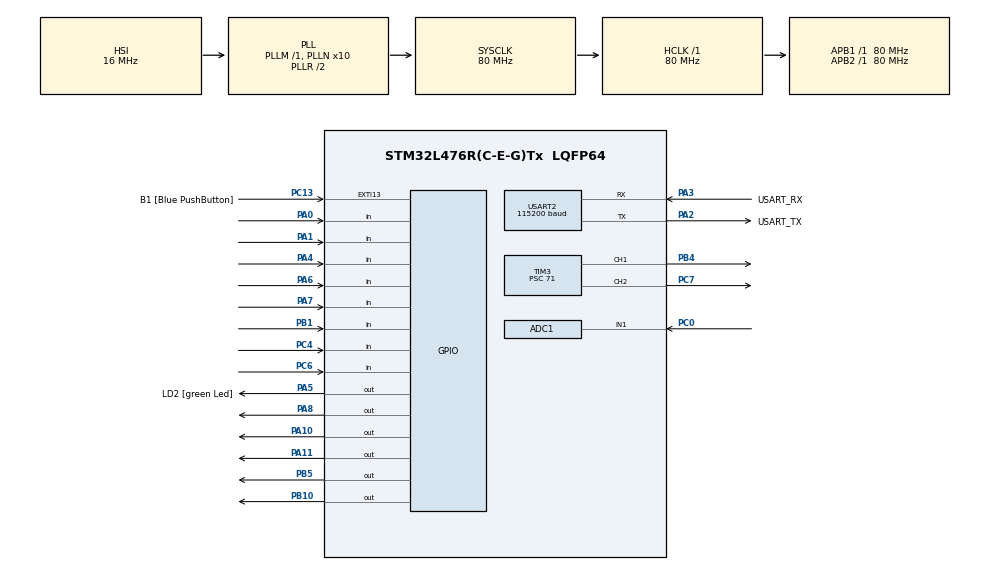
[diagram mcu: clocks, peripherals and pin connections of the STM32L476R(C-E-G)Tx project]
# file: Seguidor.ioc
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ADC1.Channel-1\#ChannelRegularConversion=ADC_CHANNEL_1
ADC1.NbrOfConversionFlag=1
ADC1.OffsetNumber-1\#ChannelRegularConversion=ADC_OFFSET_NONE
ADC1.Rank-1\#ChannelRegularConversion=1
ADC1.SamplingTime-1\#ChannelRegularConversion=ADC_SAMPLETIME_2CYCLES_5
ADC1.master=1
FREERTOS.Tasks01=defaultTask,0,128,StartDefaultTask,Default,NULL,Dynamic,NULL,NULL
FREERTOS.configTOTAL_HEAP_SIZE=16384
FREERTOS.configUSE_NEWLIB_REENTRANT=1
Mcu.Family=STM32L4
Mcu.Name=STM32L476R(C-E-G)Tx
Mcu.Package=LQFP64
NVIC.PriorityGroup=NVIC_PRIORITYGROUP_4
NVIC.TIM1_UP_TIM16_IRQn=true\:15\:0\:false\:false\:true\:false\:false\:true\:true
NVIC.TimeBase=TIM1_UP_TIM16_IRQn
NVIC.TimeBaseIP=TIM1
PA0.GPIO_PuPd=GPIO_PULLUP
PA0.Signal=GPIO_Input
PA1.GPIO_PuPd=GPIO_PULLUP
PA1.Signal=GPIO_Input
PA10.Signal=GPIO_Output
PA11.Signal=GPIO_Output
PA13\ (JTMS-SWDIO).GPIO_Label=TMS
PA13\ (JTMS-SWDIO).Mode=Serial_Wire
PA13\ (JTMS-SWDIO).Signal=SYS_JTMS-SWDIO
PA14\ (JTCK-SWCLK).GPIO_Label=TCK
PA14\ (JTCK-SWCLK).Mode=Serial_Wire
PA14\ (JTCK-SWCLK).Signal=SYS_JTCK-SWCLK
PA2.GPIO_Label=USART_TX
PA2.GPIO_Mode=GPIO_MODE_AF_PP
PA2.GPIO_PuPd=GPIO_NOPULL
PA2.GPIO_Speed=GPIO_SPEED_FREQ_VERY_HIGH
PA2.Mode=Asynchronous
PA2.Signal=USART2_TX
PA3.GPIO_Label=USART_RX
PA3.GPIO_Mode=GPIO_MODE_AF_PP
PA3.GPIO_PuPd=GPIO_NOPULL
PA3.GPIO_Speed=GPIO_SPEED_FREQ_VERY_HIGH
PA3.Mode=Asynchronous
PA3.Signal=USART2_RX
PA4.GPIO_PuPd=GPIO_PULLUP
PA4.Signal=GPIO_Input
PA5.GPIO_Label=LD2 [green Led]
PA5.GPIO_ModeDefaultOutputPP=GPIO_MODE_OUTPUT_PP
PA5.GPIO_PuPd=GPIO_NOPULL
PA5.GPIO_Speed=GPIO_SPEED_FREQ_LOW
PA5.Signal=GPIO_Output
PA6.GPIO_PuPd=GPIO_PULLUP
PA6.Signal=GPIO_Input
PA7.GPIO_PuPd=GPIO_PULLUP
PA7.Signal=GPIO_Input
PA8.Signal=GPIO_Output
PB1.GPIO_PuPd=GPIO_PULLUP
PB1.Signal=GPIO_Input
PB10.Signal=GPIO_Output
PB3\ (JTDO-TRACESWO).GPIO_Label=SWO
PB3\ (JTDO-TRACESWO).Signal=SYS_JTDO-SWO
PB4\ (NJTRST).Signal=S_TIM3_CH1
PB5.Signal=GPIO_Output
PC0.Signal=ADCx_IN1
PC13.GPIO_Label=B1 [Blue PushButton]
PC13.GPIO_ModeDefaultEXTI=GPIO_MODE_IT_FALLING
PC13.GPIO_PuPd=GPIO_NOPULL
PC13.Signal=GPXTI13
PC14-OSC32_IN\ (PC14).Mode=LSE-External-Oscillator
PC14-OSC32_IN\ (PC14).Signal=RCC_OSC32_IN
PC15-OSC32_OUT\ (PC15).Mode=LSE-External-Oscillator
PC15-OSC32_OUT\ (PC15).Signal=RCC_OSC32_OUT
PC4.GPIO_PuPd=GPIO_PULLUP
PC4.Signal=GPIO_Input
PC6.GPIO_PuPd=GPIO_PULLUP
PC6.Signal=GPIO_Input
PC7.Signal=S_TIM3_CH2
PH0-OSC_IN\ (PH0).Signal=RCC_OSC_IN
PH1-OSC_OUT\ (PH1).Signal=RCC_OSC_OUT
ProjectManager.HeapSize=0x200
ProjectManager.StackSize=0x400
ProjectManager.TargetToolchain=STM32CubeIDE
RCC.ADCFreq_Value=64000000
RCC.AHBFreq_Value=80000000
RCC.APB1Freq_Value=80000000
RCC.APB1TimFreq_Value=80000000
RCC.APB2Freq_Value=80000000
RCC.APB2TimFreq_Value=80000000
RCC.CortexFreq_Value=80000000
RCC.HCLKFreq_Value=80000000
RCC.HSE_VALUE=8000000
RCC.HSI_VALUE=16000000
RCC.MSI_VALUE=4000000
RCC.PLLN=10
RCC.PLLSourceVirtual=RCC_PLLSOURCE_HSI
RCC.PREFETCH_ENABLE=1
RCC.SYSCLKFreq_VALUE=80000000
RCC.SYSCLKSource=RCC_SYSCLKSOURCE_PLLCLK
RCC.USBFreq_Value=64000000
RCC.VCOOutputFreq_Value=160000000
SH.ADCx_IN1.0=ADC1_IN1,IN1-Single-Ended
SH.S_TIM3_CH1.0=TIM3_CH1,PWM Generation1 CH1
SH.S_TIM3_CH2.0=TIM3_CH2,PWM Generation2 CH2
TIM3.Channel-PWM\ Generation1\ CH1=TIM_CHANNEL_1
TIM3.Channel-PWM\ Generation2\ CH2=TIM_CHANNEL_2
TIM3.Period=99
TIM3.Prescaler=71
USART2.BaudRate=115200
USART2.VirtualMode-Asynchronous=VM_ASYNC
VP_FREERTOS_VS_CMSIS_V1.Mode=CMSIS_V1
VP_SYS_VS_tim1.Mode=TIM1
board=NUCLEO-L476RG

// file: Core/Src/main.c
/* USER CODE BEGIN Header */
/**
  ***********************************************************************
  *																		*
  * CARRO RC E SEGUIDOR DE LINHA										*
  * Projeto de Sistemas Embarcados @ Cesar School						*
  *																		*
  * "Every machine is a smoke machine if you operate it wrong enough"	*
  *																		*
  * Alunos: @frssm, @dca2, @hrm, @jhml, @rba, @rdmo, @yri						*
  *																		*
  ***********************************************************************
  */
/* USER CODE END Header */
#include "main.h"
#include "cmsis_os.h"
#include "stdio.h"
#include "string.h"

/* USER CODE BEGIN Includes */
EventGroupHandle_t modo_event_group;

#define MODO_RC     (1 << 0)
#define MODO_AUTO   (1 << 1)
/* USER CODE END Includes */

/* USER CODE BEGIN PD */
#define NUM_SENSORS 8  // Número de sensores

#define MOTOR_L_IN1 GPIO_PIN_10  // Ajuste conforme sua conexão PB10
#define MOTOR_L_IN2 GPIO_PIN_5   // PB5
#define MOTOR_L_PWM GPIO_PIN_4  // PWM para o motor esquerdo PB4

#define MOTOR_R_IN1 GPIO_PIN_10 //PA10
#define MOTOR_R_IN2 GPIO_PIN_8  //PA8
#define MOTOR_R_PWM GPIO_PIN_7  // PWM para o motor direito PC7

#define MOTOR_L_PORT GPIOB  // Ajuste a porta correta
#define MOTOR_R_PORT GPIOA  // Ajuste a porta correta

#define PWM_MAX 100  // Definir velocidade máxima (0-100%)

/* USER CODE END PD */

ADC_HandleTypeDef hadc1;
TIM_HandleTypeDef htim3;
UART_HandleTypeDef huart2;
uint8_t sensor_values[NUM_SENSORS];

osThreadId defaultTaskHandle;

void SystemClock_Config(void);
static void MX_TIM3_Init(void);
static void MX_GPIO_Init(void);
static void MX_USART2_UART_Init(void);
static void MX_ADC1_Init(void);
void StartDefaultTask(void const * argument);

/* USER CODE BEGIN PFP */
// Mapeamento dos pinos no STM32
GPIO_TypeDef *SENSOR_PORT[NUM_SENSORS] = {GPIOA, GPIOA, GPIOA, GPIOA, GPIOA, GPIOC, GPIOC, GPIOB}; //PA0 PA1 PA4 PA6 PA7 PC4 PC5 PB1
uint16_t SENSOR_PIN[NUM_SENSORS] = {GPIO_PIN_0, GPIO_PIN_1, GPIO_PIN_4, GPIO_PIN_6, GPIO_PIN_7,
									GPIO_PIN_4, GPIO_PIN_6, GPIO_PIN_1};

uint8_t sensor_values[8];  // Armazena os valores lidos
int sensor_positions[8] = {-3, -2, -1, 0, 0, 1, 2, 3};  // Posições relativas dos sensores
float centroid=0.0;
//threads que eu criei
void testcent();
void testsens();
void sensores();
void motores(void *argument);
void controle_carro(void *argument);

//variáveis globais para cálculo de PID
float Kp = 25.0;//Comece com Ki = 0. Mexa só no Kp e Kd primeiro.
float Ki = 0.0; //Aumente Kp até o robô reagir bem.
float Kd = 15.0;//Aumente Kd se ele estiver oscilando demais.
				//Só adicione Ki se ele estiver desviando com o tempo.
float error = 0;
float previous_error = 0;
float integral = 0;
float target_position = 0.0;  // Alvo do centroide (pode ajustar conforme seu mapeamento)

void read_sensors();
void print_sensor_values();
float calculate_centroid();
int velocidade();

float compute_pid(float position);
void set_motor_speeds(float correction);
void motor_set_speed(int left_speed, int right_speed);
void motor_init();
int16_t readVoltage(void);
void blinkTaskFcn(int);
/* USER CODE END PFP */

int main(void)
{

  /* MCU Configuration--------------------------------------------------------*/

  /* Reset of all peripherals, Initializes the Flash interface and the Systick. */
  HAL_Init();

  /* Configure the system clock */
  SystemClock_Config();

  /* Initialize all configured peripherals */
  MX_GPIO_Init();
  MX_USART2_UART_Init();
  MX_TIM3_Init();
  MX_ADC1_Init();
  motor_init();
  modo_event_group = xEventGroupCreate();
  xEventGroupSetBits(modo_event_group, MODO_RC); // começa no modo RC

  /* Create the thread(s) */
  /* definition and creation of defaultTask */
  osThreadDef(defaultTask, StartDefaultTask, osPriorityNormal, 0, 128);
  defaultTaskHandle = osThreadCreate(osThread(defaultTask), NULL);

  /* USER CODE BEGIN RTOS_THREADS */
  /* add threads, ... */
  //xTaskCreate(testsens, "testando sensores", configMINIMAL_STACK_SIZE, NULL, tskIDLE_PRIORITY, NULL);
  //xTaskCreate(testcent, "testando centroide", configMINIMAL_STACK_SIZE, NULL, tskIDLE_PRIORITY, NULL);
  //xTaskCreate(blinkTaskFcn, "Task1", configMINIMAL_STACK_SIZE, NULL, 1, NULL);
  //xTaskCreate(sensores, "sensors", configMINIMAL_STACK_SIZE, NULL, tskIDLE_PRIORITY, NULL);
  xTaskCreate(motores, "startEngines", configMINIMAL_STACK_SIZE, NULL, tskIDLE_PRIORITY, NULL);
  xTaskCreate(controle_carro, "modoRC", configMINIMAL_STACK_SIZE, NULL, tskIDLE_PRIORITY, NULL);
  /* USER CODE END RTOS_THREADS */

  /* Start scheduler */
  osKernelStart();

  /* We should never get here as control is now taken by the scheduler */

  /* Infinite loop */
  while (1)
  {

  }
}

void SystemClock_Config(void)
{
  RCC_OscInitTypeDef RCC_OscInitStruct = {0};
  RCC_ClkInitTypeDef RCC_ClkInitStruct = {0};

  /** Configure the main internal regulator output voltage
  */
  if (HAL_PWREx_ControlVoltageScaling(PWR_REGULATOR_VOLTAGE_SCALE1) != HAL_OK)
  {
    Error_Handler();
  }

  /** Initializes the RCC Oscillators according to the specified parameters
  * in the RCC_OscInitTypeDef structure.
  */
  RCC_OscInitStruct.OscillatorType = RCC_OSCILLATORTYPE_HSI;
  RCC_OscInitStruct.HSIState = RCC_HSI_ON;
  RCC_OscInitStruct.HSICalibrationValue = RCC_HSICALIBRATION_DEFAULT;
  RCC_OscInitStruct.PLL.PLLState = RCC_PLL_ON;
  RCC_OscInitStruct.PLL.PLLSource = RCC_PLLSOURCE_HSI;
  RCC_OscInitStruct.PLL.PLLM = 1;
  RCC_OscInitStruct.PLL.PLLN = 10;
  RCC_OscInitStruct.PLL.PLLP = RCC_PLLP_DIV7;
  RCC_OscInitStruct.PLL.PLLQ = RCC_PLLQ_DIV2;
  RCC_OscInitStruct.PLL.PLLR = RCC_PLLR_DIV2;
  if (HAL_RCC_OscConfig(&RCC_OscInitStruct) != HAL_OK)
  {
    Error_Handler();
  }

  /** Initializes the CPU, AHB and APB buses clocks
  */
  RCC_ClkInitStruct.ClockType = RCC_CLOCKTYPE_HCLK|RCC_CLOCKTYPE_SYSCLK
                              |RCC_CLOCKTYPE_PCLK1|RCC_CLOCKTYPE_PCLK2;
  RCC_ClkInitStruct.SYSCLKSource = RCC_SYSCLKSOURCE_PLLCLK;
  RCC_ClkInitStruct.AHBCLKDivider = RCC_SYSCLK_DIV1;
  RCC_ClkInitStruct.APB1CLKDivider = RCC_HCLK_DIV1;
  RCC_ClkInitStruct.APB2CLKDivider = RCC_HCLK_DIV1;

  if (HAL_RCC_ClockConfig(&RCC_ClkInitStruct, FLASH_LATENCY_4) != HAL_OK)
  {
    Error_Handler();
  }
}

static void MX_ADC1_Init(void)
{

  ADC_MultiModeTypeDef multimode = {0};
  ADC_ChannelConfTypeDef sConfig = {0};

  /** Common config
  */
  hadc1.Instance = ADC1;
  hadc1.Init.ClockPrescaler = ADC_CLOCK_ASYNC_DIV1;
  hadc1.Init.Resolution = ADC_RESOLUTION_12B;
  hadc1.Init.DataAlign = ADC_DATAALIGN_RIGHT;
  hadc1.Init.ScanConvMode = ADC_SCAN_DISABLE;
  hadc1.Init.EOCSelection = ADC_EOC_SINGLE_CONV;
  hadc1.Init.LowPowerAutoWait = DISABLE;
  hadc1.Init.ContinuousConvMode = DISABLE;
  hadc1.Init.NbrOfConversion = 1;
  hadc1.Init.DiscontinuousConvMode = DISABLE;
  hadc1.Init.ExternalTrigConv = ADC_SOFTWARE_START;
  hadc1.Init.ExternalTrigConvEdge = ADC_EXTERNALTRIGCONVEDGE_NONE;
  hadc1.Init.DMAContinuousRequests = DISABLE;
  hadc1.Init.Overrun = ADC_OVR_DATA_PRESERVED;
  hadc1.Init.OversamplingMode = DISABLE;
  if (HAL_ADC_Init(&hadc1) != HAL_OK)
  {
    Error_Handler();
  }

  /** Configure the ADC multi-mode
  */
  multimode.Mode = ADC_MODE_INDEPENDENT;
  if (HAL_ADCEx_MultiModeConfigChannel(&hadc1, &multimode) != HAL_OK)
  {
    Error_Handler();
  }

  /** Configure Regular Channel
  */
  sConfig.Channel = ADC_CHANNEL_1;
  sConfig.Rank = ADC_REGULAR_RANK_1;
  sConfig.SamplingTime = ADC_SAMPLETIME_2CYCLES_5;
  sConfig.SingleDiff = ADC_SINGLE_ENDED;
  sConfig.OffsetNumber = ADC_OFFSET_NONE;
  sConfig.Offset = 0;
  if (HAL_ADC_ConfigChannel(&hadc1, &sConfig) != HAL_OK)
  {
    Error_Handler();
  }

}

static void MX_TIM3_Init(void)
{

  TIM_MasterConfigTypeDef sMasterConfig = {0};
  TIM_OC_InitTypeDef sConfigOC = {0};

  htim3.Instance = TIM3;
  htim3.Init.Prescaler = 71;
  htim3.Init.CounterMode = TIM_COUNTERMODE_UP;
  htim3.Init.Period = 99;
  htim3.Init.ClockDivision = TIM_CLOCKDIVISION_DIV1;
  htim3.Init.AutoReloadPreload = TIM_AUTORELOAD_PRELOAD_DISABLE;
  if (HAL_TIM_PWM_Init(&htim3) != HAL_OK)
  {
    Error_Handler();
  }
  sMasterConfig.MasterOutputTrigger = TIM_TRGO_RESET;
  sMasterConfig.MasterSlaveMode = TIM_MASTERSLAVEMODE_DISABLE;
  if (HAL_TIMEx_MasterConfigSynchronization(&htim3, &sMasterConfig) != HAL_OK)
  {
    Error_Handler();
  }
  sConfigOC.OCMode = TIM_OCMODE_PWM1;
  sConfigOC.Pulse = 0;
  sConfigOC.OCPolarity = TIM_OCPOLARITY_HIGH;
  sConfigOC.OCFastMode = TIM_OCFAST_DISABLE;
  if (HAL_TIM_PWM_ConfigChannel(&htim3, &sConfigOC, TIM_CHANNEL_1) != HAL_OK)
  {
    Error_Handler();
  }
  if (HAL_TIM_PWM_ConfigChannel(&htim3, &sConfigOC, TIM_CHANNEL_2) != HAL_OK)
  {
    Error_Handler();
  }
  HAL_TIM_MspPostInit(&htim3);

}

static void MX_USART2_UART_Init(void)
{

  huart2.Instance = USART2;
  huart2.Init.BaudRate = 115200;
  huart2.Init.WordLength = UART_WORDLENGTH_8B;
  huart2.Init.StopBits = UART_STOPBITS_1;
  huart2.Init.Parity = UART_PARITY_NONE;
  huart2.Init.Mode = UART_MODE_TX_RX;
  huart2.Init.HwFlowCtl = UART_HWCONTROL_NONE;
  huart2.Init.OverSampling = UART_OVERSAMPLING_16;
  huart2.Init.OneBitSampling = UART_ONE_BIT_SAMPLE_DISABLE;
  huart2.AdvancedInit.AdvFeatureInit = UART_ADVFEATURE_NO_INIT;
  if (HAL_UART_Init(&huart2) != HAL_OK)
  {
    Error_Handler();
  }

}

static void MX_GPIO_Init(void)
{
  GPIO_InitTypeDef GPIO_InitStruct = {0};

  /* GPIO Ports Clock Enable */
  __HAL_RCC_GPIOC_CLK_ENABLE();
  __HAL_RCC_GPIOH_CLK_ENABLE();
  __HAL_RCC_GPIOA_CLK_ENABLE();
  __HAL_RCC_GPIOB_CLK_ENABLE();

  /*Configure GPIO pin Output Level */
  HAL_GPIO_WritePin(GPIOA, LD2_Pin|GPIO_PIN_8|GPIO_PIN_10, GPIO_PIN_RESET);

  /*Configure GPIO pin Output Level */
  HAL_GPIO_WritePin(GPIOB, GPIO_PIN_10|GPIO_PIN_5, GPIO_PIN_RESET);

  /*Configure GPIO pin : B1_Pin */
  GPIO_InitStruct.Pin = B1_Pin;
  GPIO_InitStruct.Mode = GPIO_MODE_IT_FALLING;
  GPIO_InitStruct.Pull = GPIO_NOPULL;
  HAL_GPIO_Init(B1_GPIO_Port, &GPIO_InitStruct);

  /*Configure GPIO pins : LD2_Pin PA8 PA10 */
  GPIO_InitStruct.Pin = LD2_Pin|GPIO_PIN_8|GPIO_PIN_10;
  GPIO_InitStruct.Mode = GPIO_MODE_OUTPUT_PP;
  GPIO_InitStruct.Pull = GPIO_NOPULL;
  GPIO_InitStruct.Speed = GPIO_SPEED_FREQ_LOW;
  HAL_GPIO_Init(GPIOA, &GPIO_InitStruct);
 //LD2_GPIO_Port

  /*Configure GPIO pins : PA0 PA1 PA4 PA6 PA7 */
  GPIO_InitStruct.Pin = GPIO_PIN_0|GPIO_PIN_1|GPIO_PIN_4|GPIO_PIN_6|GPIO_PIN_7;
  GPIO_InitStruct.Mode = GPIO_MODE_INPUT;
  GPIO_InitStruct.Pull = GPIO_PULLUP;
  HAL_GPIO_Init(GPIOA, &GPIO_InitStruct);

  /*Configure GPIO pins : PC4 PC6 */
  GPIO_InitStruct.Pin = GPIO_PIN_4|GPIO_PIN_6;
  GPIO_InitStruct.Mode = GPIO_MODE_INPUT;
  GPIO_InitStruct.Pull = GPIO_PULLUP;
  HAL_GPIO_Init(GPIOC, &GPIO_InitStruct);

  /*Configure GPIO pin : PB1 */
  GPIO_InitStruct.Pin = GPIO_PIN_1;
  GPIO_InitStruct.Mode = GPIO_MODE_INPUT;
  GPIO_InitStruct.Pull = GPIO_PULLUP;
  HAL_GPIO_Init(GPIOB, &GPIO_InitStruct);

  /*Configure GPIO pins : PB10 PB5 */
  GPIO_InitStruct.Pin = GPIO_PIN_10|GPIO_PIN_5;
  GPIO_InitStruct.Mode = GPIO_MODE_OUTPUT_PP;
  GPIO_InitStruct.Pull = GPIO_NOPULL;
  GPIO_InitStruct.Speed = GPIO_SPEED_FREQ_LOW;
  HAL_GPIO_Init(GPIOB, &GPIO_InitStruct);

  //motores
  // Configura pinos de direção como saída
  GPIO_InitStruct.Pin = MOTOR_L_IN1 | MOTOR_L_IN2;
  GPIO_InitStruct.Mode = GPIO_MODE_OUTPUT_PP;
  GPIO_InitStruct.Pull = GPIO_NOPULL;
  GPIO_InitStruct.Speed = GPIO_SPEED_FREQ_LOW;
  HAL_GPIO_Init(MOTOR_L_PORT, &GPIO_InitStruct);

  // Configura pinos de direção como saída
  GPIO_InitStruct.Pin = MOTOR_R_IN1 | MOTOR_R_IN2;
  GPIO_InitStruct.Mode = GPIO_MODE_OUTPUT_PP;
  GPIO_InitStruct.Pull = GPIO_NOPULL;
  GPIO_InitStruct.Speed = GPIO_SPEED_FREQ_LOW;
  HAL_GPIO_Init(MOTOR_R_PORT, &GPIO_InitStruct);

  // Configura pinos PWM como saída (opcional: configurar como PWM via Timer)
  GPIO_InitStruct.Pin = MOTOR_L_PWM;
  GPIO_InitStruct.Mode = GPIO_MODE_AF_PP;  // Se usar Timer PWM
  GPIO_InitStruct.Pull = GPIO_NOPULL;
  GPIO_InitStruct.Speed = GPIO_SPEED_FREQ_HIGH;
  GPIO_InitStruct.Alternate = GPIO_AF2_TIM3;  // <-- IMPORTANTE! Esse pino vai funcionar como canal de PWM do Timer 3
  HAL_GPIO_Init(MOTOR_L_PORT, &GPIO_InitStruct);

  GPIO_InitStruct.Pin = MOTOR_R_PWM;
  GPIO_InitStruct.Mode = GPIO_MODE_AF_PP;  // Se usar Timer PWM
  GPIO_InitStruct.Pull = GPIO_NOPULL;
  GPIO_InitStruct.Speed = GPIO_SPEED_FREQ_HIGH;
  GPIO_InitStruct.Alternate = GPIO_AF2_TIM3;  // <-- IMPORTANTE! Esse pino vai funcionar como canal de PWM do Timer 3
  HAL_GPIO_Init(GPIOC, &GPIO_InitStruct);

}

/* USER CODE BEGIN 4 */

/*
 * MODO CONTROLE REMOTO
 */
void controle_carro(void *argument) {
	uint8_t ultimo_valor_pot = 255;
	char msgs[50];
    for (;;) {
        EventBits_t modo = xEventGroupGetBits(modo_event_group);
        if (modo & MODO_RC) {
            // Aqui você processa comandos recebidos via UART2
            // Exemplo simples: se receber 'A', gira à esquerda
            char comando;
            int16_t potenciometro;
			HAL_ADC_Start(&hadc1);
			HAL_ADC_PollForConversion(&hadc1, HAL_MAX_DELAY);
			potenciometro = (uint8_t)(HAL_ADC_GetValue(&hadc1) * 100 / 3970);//normalizando o valor
			int var;
			var = potenciometro/5;
			var*=5;
			// Se o valor do potenciômetro mudou, imprime
			if ((var-5) < potenciometro && potenciometro < (var+5) && var != ultimo_valor_pot) {
				sprintf(msgs,"Velocidade: %d\n\r",var);
				HAL_UART_Transmit(&huart2, (char*)msgs, strlen(msgs), 100);
				ultimo_valor_pot = var;
			}
            if (HAL_UART_Receive(&huart2, (uint8_t *)&comando, 1, 100) == HAL_OK) {
                switch (comando) {
                    case 'w'://frente
                    case 'W'://forward
                    	motor_set_speed(potenciometro, potenciometro); break;
                    case 's'://ré
                    case 'S'://backward
                    	motor_set_speed(-potenciometro, -potenciometro); break;
                    case 'a'://esquerda
                    case 'A'://lefs
                    	motor_set_speed(potenciometro, -potenciometro); break;
                    case 'd'://direita
                    case 'D'://right
                    	motor_set_speed(-potenciometro, potenciometro); break;
                    case 'q'://para
					case 'Q'://stop
						motor_set_speed(0, 0); break;
					case 'e'://led (easter egg)
					case 'E'://LED (easter egg)
						HAL_GPIO_TogglePin(LD2_GPIO_Port, LD2_Pin);break;
                    case 'f':  // comando para mudar para modo Follow
                    case 'F': //line follower
                        xEventGroupClearBits(modo_event_group, MODO_RC);
                        xEventGroupSetBits(modo_event_group, MODO_AUTO);
                        break;
                }
            }
        }
        vTaskDelay(pdMS_TO_TICKS(50));
    }
}
/**
  * SENSORES
  */
void sensores(){
	while(1){
		read_sensors();
		print_sensor_values();
		//pos = calculate_centroid();
		//corr = compute_pid(pos);
		HAL_Delay(100);
	}
}

void read_sensors() {
    for (int i = 0; i < NUM_SENSORS; i++) {
        sensor_values[i] = HAL_GPIO_ReadPin(SENSOR_PORT[i], SENSOR_PIN[i]);
    }
}

void print_sensor_values() {
    char msg[50];
    sprintf(msg, "Sensores: %d %d %d %d %d %d %d %d\r\n",
            sensor_values[0], sensor_values[1], sensor_values[2], sensor_values[3], //sensores 2 e 3 sempre "1"
            sensor_values[4], sensor_values[5], sensor_values[6], sensor_values[7]); //sensores 6 e 7 sempre "0"
    HAL_UART_Transmit(&huart2, (uint8_t*)msg, strlen(msg), 100);
}

int velocidade(){
	//char msgs[50];
	int16_t potenciometro;
	potenciometro= readVoltage();
	potenciometro = (potenciometro*100)/3970;
	return potenciometro;
	//sprintf(msgs,"Velocidade: %d\n\r",potenciometro);
	//HAL_UART_Transmit(&huart2, (int16_t*)msgs, sizeof(msgs), HAL_MAX_DELAY);
}

/*
 * PID
 */
float calculate_centroid() {

    int sum_weights = 0;
    int sum_values = 0;

    for (int i = 0; i < NUM_SENSORS; i++) {
        if (sensor_values[i] == 1) {  // Sensor detecta preto (linha)
            sum_weights += sensor_positions[i];
            sum_values++;
        }
    }

    if (sum_values == 0) {
        return -100.0f;  // Nenhum sensor detectou a linha (linha perdida)
    }

    return (float)sum_weights / sum_values;  // Centroide normalizado
}

float compute_pid(float position) {
    if (position ==0) {
        return 0;  // Linha perdida → nenhuma correção
    }

    error = position - target_position;
    integral += error;
    float derivative = error - previous_error;

    float correction = Kp * error + Ki * integral + Kd * derivative;
    previous_error = error;

    return correction;
}

/*
 * MOTORES
 */

//Função motores com PWM

void motor_init() {
	HAL_TIM_PWM_Start(&htim3, TIM_CHANNEL_1);
	HAL_TIM_PWM_Start(&htim3, TIM_CHANNEL_2);

	// Parar motores inicialmente
	HAL_GPIO_WritePin(GPIOB, GPIO_PIN_10, GPIO_PIN_RESET);
	HAL_GPIO_WritePin(GPIOB, GPIO_PIN_5, GPIO_PIN_RESET);
	HAL_GPIO_WritePin(GPIOA, GPIO_PIN_10, GPIO_PIN_RESET);
	HAL_GPIO_WritePin(GPIOA, GPIO_PIN_8, GPIO_PIN_RESET);

	__HAL_TIM_SET_COMPARE(&htim3, TIM_CHANNEL_1, 0);
	__HAL_TIM_SET_COMPARE(&htim3, TIM_CHANNEL_2, 0);
}
int16_t readVoltage(void){
	HAL_ADC_Start(&hadc1);
	HAL_ADC_PollForConversion(&hadc1, HAL_MAX_DELAY);
	return HAL_ADC_GetValue(&hadc1);
}

void motores(void *argument) {
    for (;;) {
        EventBits_t modo = xEventGroupGetBits(modo_event_group);
        if (modo & MODO_AUTO) {
            read_sensors();
            print_sensor_values();
            float pos = calculate_centroid();
            float corr = compute_pid(pos);
            if (pos == -100.0f) {
                motor_set_speed(30, -30);
            } else {
                set_motor_speeds(corr);
            }
            // Verifica se recebeu um 'r' na UART
			char c;
			if (HAL_UART_Receive(&huart2, (uint8_t *)&c, 1, 10) == HAL_OK) {
				if (c == 'r' || c == 'R') {
					// Muda pro modo RC
					xEventGroupClearBits(modo_event_group, MODO_AUTO);
					xEventGroupSetBits(modo_event_group, MODO_RC);
					// Parar os motores
					motor_set_speed(0, 0);
				}
				if (c=='e'||c=='E'){
					HAL_GPIO_TogglePin(LD2_GPIO_Port, LD2_Pin);
				}
			}
		}
	}
        vTaskDelay(pdMS_TO_TICKS(50));

}

void set_motor_speeds(float correction) {
    int base_speed = 70;  // Velocidade padrão (pode ajustar)
    int left_speed = base_speed + (int)(correction);
    int right_speed = base_speed - (int)(correction);

    // Saturação (evita valores negativos ou muito altos)
    if (left_speed > 100) left_speed = 100;
    if (right_speed > 100) right_speed = 100;
    if (left_speed < 0) left_speed = 0;
    if (right_speed < 0) right_speed = 0;

    motor_set_speed(left_speed, right_speed);  // Sua função para controlar os motores

}

void motor_set_speed(int left_speed, int right_speed) {
	// Limitar valores entre -100 e 100
	if (left_speed > 100) left_speed = 100;
	if (right_speed > 100) right_speed = 100;
	if (left_speed < -100) left_speed = -100;
	if (right_speed < -100) right_speed = -100;

	// Definir direção e PWM do motor esquerdo
	if (left_speed >= 0) {
		HAL_GPIO_WritePin(MOTOR_L_PORT, MOTOR_L_IN1, GPIO_PIN_RESET);
		HAL_GPIO_WritePin(MOTOR_L_PORT, MOTOR_L_IN2, GPIO_PIN_SET);
	} else {
		HAL_GPIO_WritePin(MOTOR_L_PORT, MOTOR_L_IN1, GPIO_PIN_SET);
		HAL_GPIO_WritePin(MOTOR_L_PORT, MOTOR_L_IN2, GPIO_PIN_RESET);
		left_speed = -left_speed;  // Inverter valor para PWM
	}
	__HAL_TIM_SET_COMPARE(&htim3, TIM_CHANNEL_1, (left_speed * PWM_MAX) / 100);  // Ajuste o Timer correto

	// Definir direção e PWM do motor direito
	if (right_speed >= 0) {
		HAL_GPIO_WritePin(MOTOR_R_PORT, MOTOR_R_IN1, GPIO_PIN_RESET);
		HAL_GPIO_WritePin(MOTOR_R_PORT, MOTOR_R_IN2, GPIO_PIN_SET);
	} else {
		HAL_GPIO_WritePin(MOTOR_R_PORT, MOTOR_R_IN1, GPIO_PIN_SET);
		HAL_GPIO_WritePin(MOTOR_R_PORT, MOTOR_R_IN2, GPIO_PIN_RESET);
		right_speed = -right_speed;
	}

	__HAL_TIM_SET_COMPARE(&htim3, TIM_CHANNEL_2, (right_speed * PWM_MAX) / 100);  // Ajuste o Timer correto
}

/*
 * TESTES
 */
void blinkTaskFcn(int state){
	char msgs[50];
	while(1){

		int16_t potenciometro;
		potenciometro= readVoltage();
		potenciometro = (potenciometro*100)/3970;
		int var = potenciometro;
		sprintf(msgs,"%d\n\r",potenciometro);
		HAL_UART_Transmit(&huart2, (int16_t*)msgs, strlen(msgs), 100);

	osDelay(300);
	}
}
void testsens(){
	while(1){
		read_sensors();
		print_sensor_values();
		HAL_Delay(100);
	}
}
void testcent(){
	while(1){
		read_sensors();
		centroid= calculate_centroid();
		//float corr = compute_pid(centroid);
		char msg[50];
		sprintf(msg, "Centroide: %.2f\r\n", centroid);
		HAL_UART_Transmit(&huart2, (uint8_t*)msg, strlen(msg), 100);
		HAL_Delay(100);
	}
}
/* USER CODE END 4 */

void StartDefaultTask(void const * argument)
{
  for(;;)
  {
    osDelay(1);
  }
}

void HAL_TIM_PeriodElapsedCallback(TIM_HandleTypeDef *htim)
{
  if (htim->Instance == TIM1)
  {
    HAL_IncTick();
  }
}

void Error_Handler(void)
{
  __disable_irq();
  while (1)
  {
  }
}
